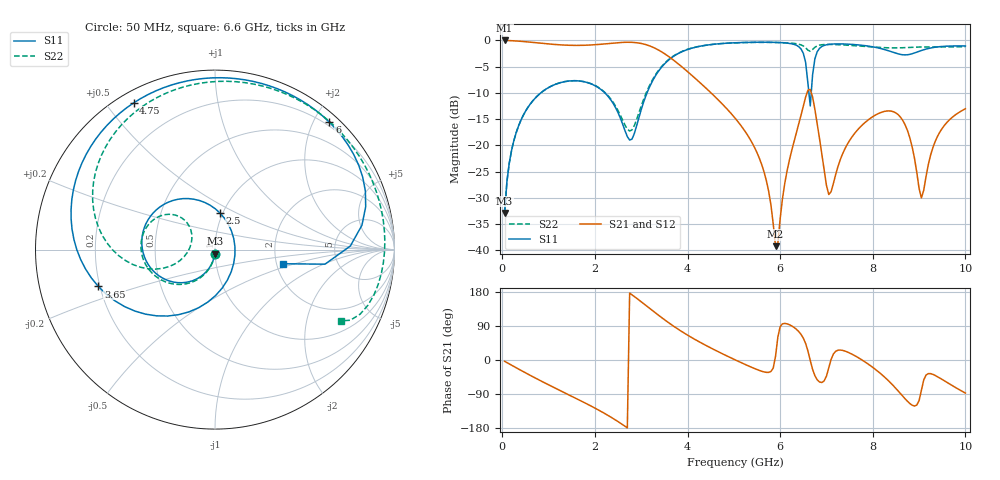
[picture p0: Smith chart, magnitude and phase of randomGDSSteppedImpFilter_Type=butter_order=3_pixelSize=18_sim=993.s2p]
! freq	dB(S11)	phase(S11)	dB(S12)	phase(S12)
!  dB(S21)	phase(S21)	dB(S22)	phase(S22)
!S-par simulation data
#  GHz  S  DB  R 50
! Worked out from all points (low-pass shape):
!   200 points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, 50 MHz to 10 GHz, reference 50 ohm
!   highest |S21| = -0.01 dB at 50 MHz (marker M1); lowest = -39.2 dB at 5.9 GHz (marker M2)
!   |S21| within 3 dB of the highest: start of sweep to 3.583 GHz
!   lowest |S11| = -32.9 dB at 50 MHz (marker M3), VSWR 1.05, Z = 49.8 - j2.26 ohm
!   |S11| at or under -10 dB: start of sweep to 832.2 MHz; 2.214 GHz to 3.126 GHz (911.7 MHz wide, 34.1 % of centre); 6.621 GHz to 6.671 GHz (49.97 MHz wide, 0.752 % of centre)
!   |S22| runs from -32.9 to -0.4 dB; largest |S21 - S12| = 0
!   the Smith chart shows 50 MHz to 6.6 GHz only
!   S11 on the Smith chart (normalised r, x): 50 MHz: 1.00, -0.05; 2.5 GHz: 0.97, +0.41; 3.65 GHz: 0.19, -0.15; 4.75 GHz: 0.05, +0.59; 6 GHz: 0.14, +2.24; 6.6 GHz: 2.18, -0.41
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0.05  -32.88 -93.3  -0.01 -3.5  -0.01 -3.5  -32.88 -93.1
0.5  -13.52 -125.3  -0.25 -33.8  -0.25 -33.8  -13.52 -123.3
1.75  -7.85 152.9  -0.93 -111.0  -0.93 -111.0  -7.83 164.7
2.5  -13.78 81.8  -0.43 -162.6  -0.43 -162.6  -13.38 136.2
2.8  -18.81 -14.3  -0.37 172.1  -0.37 172.1  -17.04 175.6
3.4  -5.54 -137.1  -1.97 115.6  -1.97 115.6  -5.40 -176.4
3.65  -3.33 -162.5  -3.44 93.4  -3.44 93.4  -3.25 165.4
4.75  -0.59 119.0  -12.11 16.6  -12.11 16.6  -0.59 92.0
5.05  -0.44 102.0  -15.05 -0.9  -15.05 -0.9  -0.45 73.6
5.65  -0.34 68.7  -24.99 -31.4  -24.99 -31.4  -0.37 36.2
5.9  -0.37 54.2  -39.20 9.6  -39.20 9.6  -0.40 19.8
6  -0.41 48.1  -34.00 88.0  -34.00 88.0  -0.42 13.1
6.45  -1.62 9.4  -14.26 67.8  -14.26 67.8  -0.85 -20.0
6.6  -8.19 -11.7  -9.49 23.7  -9.49 23.7  -1.86 -29.5
6.7  -6.60 57.4  -10.75 -24.4  -10.75 -24.4  -1.73 -28.9
7.05  -0.76 11.9  -29.36 -20.3  -29.36 -20.3  -0.77 -56.7
7.75  -0.91 -43.5  -16.32 1.4  -16.32 1.4  -1.09 -114.4
8.35  -2.00 -117.1  -13.43 -56.1  -13.43 -56.1  -1.41 -166.7
8.65  -2.74 174.4  -15.27 -95.8  -15.27 -95.8  -1.39 166.2
9  -2.08 83.0  -28.20 -107.1  -28.20 -107.1  -1.26 133.2
9.4  -1.24 18.4  -18.24 -44.2  -18.24 -44.2  -1.24 96.5
10  -1.06 -32.4  -13.02 -87.4  -13.02 -87.4  -1.21 47.7
